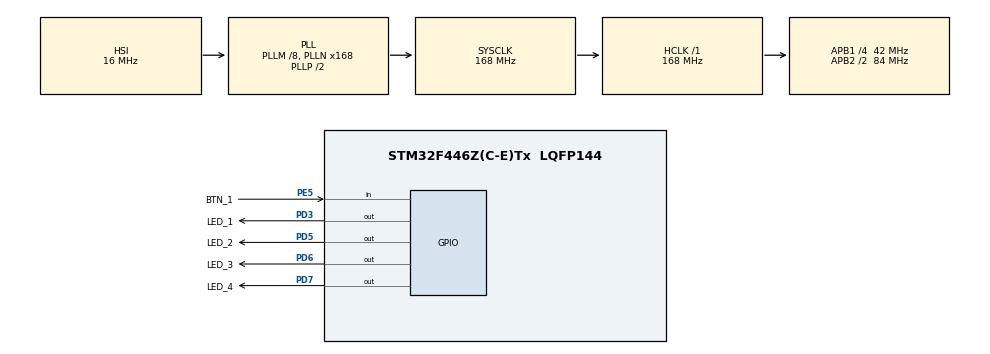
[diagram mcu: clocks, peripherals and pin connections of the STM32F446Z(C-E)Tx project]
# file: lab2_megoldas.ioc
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Mcu.Family=STM32F4
Mcu.Name=STM32F446Z(C-E)Tx
Mcu.Package=LQFP144
NVIC.PriorityGroup=NVIC_PRIORITYGROUP_4
PD3.GPIO_Label=LED_1
PD3.Signal=GPIO_Output
PD5.GPIO_Label=LED_2
PD5.Signal=GPIO_Output
PD6.GPIO_Label=LED_3
PD6.Signal=GPIO_Output
PD7.GPIO_Label=LED_4
PD7.Signal=GPIO_Output
PE5.GPIO_Label=BTN_1
PE5.GPIO_PuPd=GPIO_PULLDOWN
PE5.Signal=GPIO_Input
ProjectManager.HeapSize=0x200
ProjectManager.StackSize=0x400
ProjectManager.TargetToolchain=STM32CubeIDE
RCC.AHBFreq_Value=168000000
RCC.APB1CLKDivider=RCC_HCLK_DIV4
RCC.APB1Freq_Value=42000000
RCC.APB1TimFreq_Value=84000000
RCC.APB2CLKDivider=RCC_HCLK_DIV2
RCC.APB2Freq_Value=84000000
RCC.APB2TimFreq_Value=168000000
RCC.CortexFreq_Value=168000000
RCC.HCLKFreq_Value=168000000
RCC.PLLM=8
RCC.PLLN=168
RCC.SYSCLKFreq_VALUE=168000000
RCC.SYSCLKSource=RCC_SYSCLKSOURCE_PLLCLK
RCC.USBFreq_Value=168000000
RCC.VCOOutputFreq_Value=336000000
board=custom

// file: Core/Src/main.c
/* USER CODE BEGIN Header */
/**
  ******************************************************************************
  * @file           : main.c
  * @brief          : Main program body
  ******************************************************************************
  * @attention
  *
  * Copyright (c) 2026 STMicroelectronics.
  * All rights reserved.
  *
  * This software is licensed under terms that can be found in the LICENSE file
  * in the root directory of this software component.
  * If no LICENSE file comes with this software, it is provided AS-IS.
  *
  ******************************************************************************
  */
/* USER CODE END Header */
#include "main.h"

void SystemClock_Config(void);
static void MX_GPIO_Init(void);

int main(void)
{

  /* MCU Configuration--------------------------------------------------------*/

  /* Reset of all peripherals, Initializes the Flash interface and the Systick. */
  HAL_Init();

  /* Configure the system clock */
  SystemClock_Config();

  /* Initialize all configured peripherals */
  MX_GPIO_Init();
  /* USER CODE BEGIN 2 */
//  uint8_t state = 0x01;
//  int8_t irany = 1;
  uint32_t count_debounce = 0;
  uint8_t previous_state_debounce; // gomb korábbi állapot
  uint8_t current_state_debounce =
  HAL_GPIO_ReadPin(BTN_1_GPIO_Port,BTN_1_Pin); // gomb aktuális állapot
  uint8_t previous_state_edge = HAL_GPIO_ReadPin(BTN_1_GPIO_Port,BTN_1_Pin);
  // éldetektálásra szolgáló változó
  uint8_t counter = 0; //ciklusváltozó
  /* USER CODE END 2 */

  /* Infinite loop */
  /* USER CODE BEGIN WHILE */

  while (1)
	{
//	  HAL_GPIO_WritePin(LED_1_GPIO_Port, LED_1_Pin, state & 0x01 ? GPIO_PIN_SET : GPIO_PIN_RESET);
//	  HAL_GPIO_WritePin(LED_2_GPIO_Port, LED_2_Pin, state & 0x02 ? GPIO_PIN_SET : GPIO_PIN_RESET);
//	  HAL_GPIO_WritePin(LED_3_GPIO_Port, LED_3_Pin, state & 0x04 ? GPIO_PIN_SET : GPIO_PIN_RESET);
//	  HAL_GPIO_WritePin(LED_4_GPIO_Port, LED_4_Pin, state & 0x08 ? GPIO_PIN_SET : GPIO_PIN_RESET);
//
//	  // ELŐBB: a két szélen megfordulunk
//	  if (state == 0x08)
//	  {
//		irany = -1;
//	  }
//	  else if (state == 0x01)
//	  {
//		irany = 1;
//	  }
//
//	  // UTÁNA: léptetünk
//	  if (irany > 0)
//	  {
//		state <<= 1;
//	  }
//	  else
//	  {
//		state >>= 1;
//	  }
//
//	  HAL_Delay(100);
	  count_debounce = 0;

	  while (count_debounce < DEBOUNCING_TRESHOLD)
	  {
		  previous_state_debounce = current_state_debounce;
		  current_state_debounce = HAL_GPIO_ReadPin(BTN_1_GPIO_Port, BTN_1_Pin);
		  //számláló értékének növelése, ha az előző állapot megegyezik a jelenlegivel
	  	  if (previous_state_debounce == current_state_debounce)
	  	  {
	  		  count_debounce++;
	  	  }else{
	  		  count_debounce=0;
	  	  }
	  }

	  //éldetektálás, amennyiben történt élváltás, akkor ciklusváltozó növelés
	  if (current_state_debounce && !previous_state_edge)
	  {
	  //LED vezérlő lábak beállítása a counter változó alapján
	  HAL_GPIO_WritePin(LED_1_GPIO_Port, LED_1_Pin, counter & 0x08 ?
	  GPIO_PIN_SET : GPIO_PIN_RESET);
	  HAL_GPIO_WritePin(LED_2_GPIO_Port, LED_2_Pin, counter & 0x04 ?
	  GPIO_PIN_SET : GPIO_PIN_RESET);
	  HAL_GPIO_WritePin(LED_3_GPIO_Port, LED_3_Pin, counter & 0x02 ?
	  GPIO_PIN_SET : GPIO_PIN_RESET);
	  HAL_GPIO_WritePin(LED_4_GPIO_Port, LED_4_Pin, counter & 0x01 ?
	  GPIO_PIN_SET : GPIO_PIN_RESET);
	  counter = (counter + 1) & 0x0F; //változó léptetés
	  }
	  previous_state_edge = current_state_debounce; //aktuális állapot elmentés

    /* USER CODE END WHILE */

  }
}

void SystemClock_Config(void)
{
  RCC_OscInitTypeDef RCC_OscInitStruct = {0};
  RCC_ClkInitTypeDef RCC_ClkInitStruct = {0};

  /** Configure the main internal regulator output voltage
  */
  __HAL_RCC_PWR_CLK_ENABLE();
  __HAL_PWR_VOLTAGESCALING_CONFIG(PWR_REGULATOR_VOLTAGE_SCALE1);

  /** Initializes the RCC Oscillators according to the specified parameters
  * in the RCC_OscInitTypeDef structure.
  */
  RCC_OscInitStruct.OscillatorType = RCC_OSCILLATORTYPE_HSI;
  RCC_OscInitStruct.HSIState = RCC_HSI_ON;
  RCC_OscInitStruct.HSICalibrationValue = RCC_HSICALIBRATION_DEFAULT;
  RCC_OscInitStruct.PLL.PLLState = RCC_PLL_ON;
  RCC_OscInitStruct.PLL.PLLSource = RCC_PLLSOURCE_HSI;
  RCC_OscInitStruct.PLL.PLLM = 8;
  RCC_OscInitStruct.PLL.PLLN = 168;
  RCC_OscInitStruct.PLL.PLLP = RCC_PLLP_DIV2;
  RCC_OscInitStruct.PLL.PLLQ = 2;
  RCC_OscInitStruct.PLL.PLLR = 2;
  if (HAL_RCC_OscConfig(&RCC_OscInitStruct) != HAL_OK)
  {
    Error_Handler();
  }

  /** Initializes the CPU, AHB and APB buses clocks
  */
  RCC_ClkInitStruct.ClockType = RCC_CLOCKTYPE_HCLK|RCC_CLOCKTYPE_SYSCLK
                              |RCC_CLOCKTYPE_PCLK1|RCC_CLOCKTYPE_PCLK2;
  RCC_ClkInitStruct.SYSCLKSource = RCC_SYSCLKSOURCE_PLLCLK;
  RCC_ClkInitStruct.AHBCLKDivider = RCC_SYSCLK_DIV1;
  RCC_ClkInitStruct.APB1CLKDivider = RCC_HCLK_DIV4;
  RCC_ClkInitStruct.APB2CLKDivider = RCC_HCLK_DIV2;

  if (HAL_RCC_ClockConfig(&RCC_ClkInitStruct, FLASH_LATENCY_5) != HAL_OK)
  {
    Error_Handler();
  }
}

static void MX_GPIO_Init(void)
{
  GPIO_InitTypeDef GPIO_InitStruct = {0};

  /* GPIO Ports Clock Enable */
  __HAL_RCC_GPIOE_CLK_ENABLE();
  __HAL_RCC_GPIOD_CLK_ENABLE();

  /*Configure GPIO pin Output Level */
  HAL_GPIO_WritePin(GPIOD, LED_1_Pin|LED_2_Pin|LED_3_Pin|LED_4_Pin, GPIO_PIN_RESET);

  /*Configure GPIO pin : BTN_1_Pin */
  GPIO_InitStruct.Pin = BTN_1_Pin;
  GPIO_InitStruct.Mode = GPIO_MODE_INPUT;
  GPIO_InitStruct.Pull = GPIO_PULLDOWN;
  HAL_GPIO_Init(BTN_1_GPIO_Port, &GPIO_InitStruct);

  /*Configure GPIO pins : LED_1_Pin LED_2_Pin LED_3_Pin LED_4_Pin */
  GPIO_InitStruct.Pin = LED_1_Pin|LED_2_Pin|LED_3_Pin|LED_4_Pin;
  GPIO_InitStruct.Mode = GPIO_MODE_OUTPUT_PP;
  GPIO_InitStruct.Pull = GPIO_NOPULL;
  GPIO_InitStruct.Speed = GPIO_SPEED_FREQ_LOW;
  HAL_GPIO_Init(GPIOD, &GPIO_InitStruct);

}

void Error_Handler(void)
{
  __disable_irq();
  while (1)
  {
  }
}
